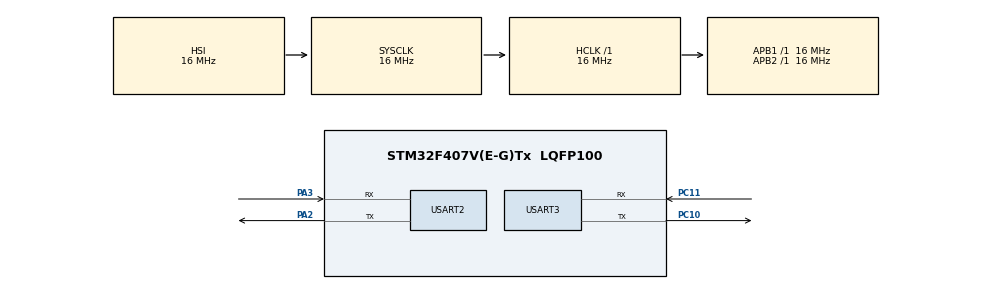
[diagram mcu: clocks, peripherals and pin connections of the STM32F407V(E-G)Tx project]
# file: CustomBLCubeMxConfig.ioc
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Mcu.Family=STM32F4
Mcu.Name=STM32F407V(E-G)Tx
Mcu.Package=LQFP100
NVIC.PriorityGroup=NVIC_PRIORITYGROUP_4
PA2.Mode=Asynchronous
PA2.Signal=USART2_TX
PA3.Mode=Asynchronous
PA3.Signal=USART2_RX
PC10.Mode=Asynchronous
PC10.Signal=USART3_TX
PC11.Mode=Asynchronous
PC11.Signal=USART3_RX
ProjectManager.HeapSize=0x200
ProjectManager.StackSize=0x400
ProjectManager.TargetToolchain=MDK-ARM V5
RCC.AHBFreq_Value=16000000
RCC.APB1Freq_Value=16000000
RCC.APB1TimFreq_Value=16000000
RCC.APB2Freq_Value=16000000
RCC.APB2TimFreq_Value=16000000
RCC.CortexFreq_Value=16000000
RCC.HCLKFreq_Value=16000000
RCC.HSE_VALUE=25000000
RCC.HSI_VALUE=16000000
RCC.LSE_VALUE=32768
RCC.SYSCLKFreq_VALUE=16000000
RCC.VCOOutputFreq_Value=192000000
USART2.VirtualMode=VM_ASYNC
USART3.VirtualMode=VM_ASYNC
VP_CRC_VS_CRC.Mode=CRC_Activate
board=custom

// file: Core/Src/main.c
/* USER CODE BEGIN Header */
/**
  ******************************************************************************
  * @file           : main.c
  * @brief          : Main program body
  ******************************************************************************
  * @attention
  *
  * Copyright (c) 2024 STMicroelectronics.
  * All rights reserved.
  *
  * This software is licensed under terms that can be found in the LICENSE file
  * in the root directory of this software component.
  * If no LICENSE file comes with this software, it is provided AS-IS.
  *
  ******************************************************************************
  */
/* USER CODE END Header */
#include "main.h"

/* USER CODE BEGIN Includes */
#include "iGpio.h"
#include "iUart.h"
/* USER CODE END Includes */

CRC_HandleTypeDef hcrc;

UART_HandleTypeDef huart2;
UART_HandleTypeDef huart3;

void SystemClock_Config(void);
static void MX_GPIO_Init(void);
static void MX_CRC_Init(void);
static void MX_USART2_UART_Init(void);
static void MX_USART3_UART_Init(void);

/* USER CODE BEGIN 0 */

/***************************************************************************************/
/*************************** DEFINITIONS ***********************************************/
/***************************************************************************************/
#define FLASH_MEMORY_SECTOR2_BASE_ADDR		(uint32_t)0x08008000

/***************************************************************************************/
/*************************** FUNCTION DECLERATIONS *************************************/
/***************************************************************************************/
void (*app_reset_handler)(void);	/* Holds the addr of reset handler of the user application */
void BL_JumpToUserApp(void);

/***************************************************************************************/
/*************************** FUNCTION IMPLEMENTATIONS **********************************/
/***************************************************************************************/
void BL_JumpToUserApp(void)
{
	uint32_t 	mspValue = 0;
	uint32_t	resetHandlerAddr = 0;

	/* Set the value of Main Stack Pointer by adjusting it to the base address of Flash sector 2 */
	mspValue = *(volatile uint32_t*)FLASH_MEMORY_SECTOR2_BASE_ADDR;

	/* Update MSP (by using the function provided by CMSIS) */
	__set_MSP(mspValue);

	/* Fetch the reset handler address of the user application from:
	 * FLASH_MEMORY_SECTOR2_BASE_ADDR + 4 (for ARM-Cortex M4) */
	resetHandlerAddr = *(volatile uint32_t*)(FLASH_MEMORY_SECTOR2_BASE_ADDR + 4);
	app_reset_handler = (void*)resetHandlerAddr;

	/* Jump to the application */
	app_reset_handler();

	/*
	 * Important to know that in the application should configure the following offset definition
	 * so that the base address can be configured as 0x0800 8000.

	 * #define VECT_TAB_OFFSET         0x00008000U

	 */
}

/* USER CODE END 0 */

int main(void)
{

  /* MCU Configuration--------------------------------------------------------*/

  /* Reset of all peripherals, Initializes the Flash interface and the Systick. */
  HAL_Init();

  /* Configure the system clock */
  SystemClock_Config();

  /* Initialize all configured peripherals */
  MX_GPIO_Init();
  MX_CRC_Init();
  MX_USART2_UART_Init();
  MX_USART3_UART_Init();
  /* USER CODE BEGIN 2 */

#if 0
	iGPIO_UserGpioInit();
	iUART_SendMessage(&huart3, IHAL_UART_TEST_MSG1);
#endif
	GPIO_PinState BootloaderStatus;
	iGPIO_ReadBootloaderButton (&BootloaderStatus);

	if(GPIO_PIN_SET == BootloaderStatus)
	{
		/* Go to Bootloader mode */
	}
	else
	{
		/* Go to Application mode */
		BL_JumpToUserApp();
	}

  /* USER CODE END 2 */

  /* Infinite loop */
  while (1)
  {

  }
}

void SystemClock_Config(void)
{
  RCC_OscInitTypeDef RCC_OscInitStruct = {0};
  RCC_ClkInitTypeDef RCC_ClkInitStruct = {0};

  /** Configure the main internal regulator output voltage
  */
  __HAL_RCC_PWR_CLK_ENABLE();
  __HAL_PWR_VOLTAGESCALING_CONFIG(PWR_REGULATOR_VOLTAGE_SCALE1);

  /** Initializes the RCC Oscillators according to the specified parameters
  * in the RCC_OscInitTypeDef structure.
  */
  RCC_OscInitStruct.OscillatorType = RCC_OSCILLATORTYPE_HSI;
  RCC_OscInitStruct.HSIState = RCC_HSI_ON;
  RCC_OscInitStruct.HSICalibrationValue = RCC_HSICALIBRATION_DEFAULT;
  RCC_OscInitStruct.PLL.PLLState = RCC_PLL_NONE;
  if (HAL_RCC_OscConfig(&RCC_OscInitStruct) != HAL_OK)
  {
    Error_Handler();
  }

  /** Initializes the CPU, AHB and APB buses clocks
  */
  RCC_ClkInitStruct.ClockType = RCC_CLOCKTYPE_HCLK|RCC_CLOCKTYPE_SYSCLK
                              |RCC_CLOCKTYPE_PCLK1|RCC_CLOCKTYPE_PCLK2;
  RCC_ClkInitStruct.SYSCLKSource = RCC_SYSCLKSOURCE_HSI;
  RCC_ClkInitStruct.AHBCLKDivider = RCC_SYSCLK_DIV1;
  RCC_ClkInitStruct.APB1CLKDivider = RCC_HCLK_DIV1;
  RCC_ClkInitStruct.APB2CLKDivider = RCC_HCLK_DIV1;

  if (HAL_RCC_ClockConfig(&RCC_ClkInitStruct, FLASH_LATENCY_0) != HAL_OK)
  {
    Error_Handler();
  }
}

static void MX_CRC_Init(void)
{

  hcrc.Instance = CRC;
  if (HAL_CRC_Init(&hcrc) != HAL_OK)
  {
    Error_Handler();
  }

}

static void MX_USART2_UART_Init(void)
{

  huart2.Instance = USART2;
  huart2.Init.BaudRate = 115200;
  huart2.Init.WordLength = UART_WORDLENGTH_8B;
  huart2.Init.StopBits = UART_STOPBITS_1;
  huart2.Init.Parity = UART_PARITY_NONE;
  huart2.Init.Mode = UART_MODE_TX_RX;
  huart2.Init.HwFlowCtl = UART_HWCONTROL_NONE;
  huart2.Init.OverSampling = UART_OVERSAMPLING_16;
  if (HAL_UART_Init(&huart2) != HAL_OK)
  {
    Error_Handler();
  }

}

static void MX_USART3_UART_Init(void)
{

  huart3.Instance = USART3;
  huart3.Init.BaudRate = 115200;
  huart3.Init.WordLength = UART_WORDLENGTH_8B;
  huart3.Init.StopBits = UART_STOPBITS_1;
  huart3.Init.Parity = UART_PARITY_NONE;
  huart3.Init.Mode = UART_MODE_TX_RX;
  huart3.Init.HwFlowCtl = UART_HWCONTROL_NONE;
  huart3.Init.OverSampling = UART_OVERSAMPLING_16;
  if (HAL_UART_Init(&huart3) != HAL_OK)
  {
    Error_Handler();
  }

}

static void MX_GPIO_Init(void)
{

  /* GPIO Ports Clock Enable */
  __HAL_RCC_GPIOA_CLK_ENABLE();
  __HAL_RCC_GPIOC_CLK_ENABLE();

}

void Error_Handler(void)
{
  __disable_irq();
  while (1)
  {
  }
}
